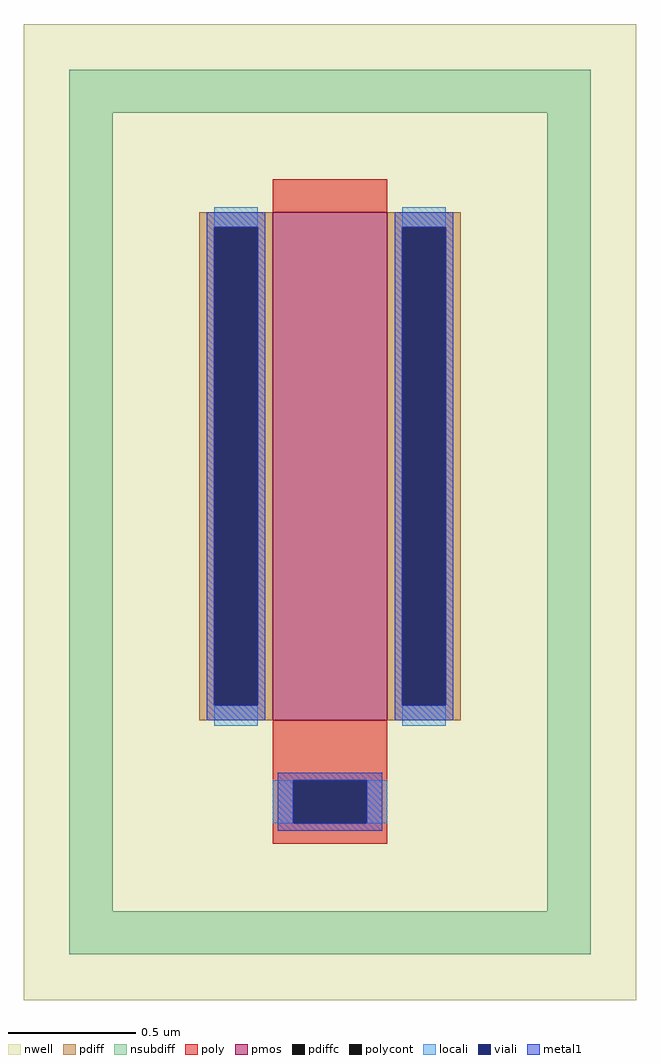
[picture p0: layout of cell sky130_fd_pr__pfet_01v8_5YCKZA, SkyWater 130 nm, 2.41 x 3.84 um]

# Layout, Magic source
magic
tech sky130A
magscale 1 2
<< nwell >>
rect -241 -384 241 384
<< pmos >>
rect -45 -164 45 236
<< pdiff >>
rect -103 224 -45 236
rect -103 -152 -91 224
rect -57 -152 -45 224
rect -103 -164 -45 -152
rect 45 224 103 236
rect 45 -152 57 224
rect 91 -152 103 224
rect 45 -164 103 -152
<< pdiffc >>
rect -91 -152 -57 224
rect 57 -152 91 224
<< nsubdiff >>
rect -205 314 205 348
rect -205 -314 -171 314
rect 171 -314 205 314
rect -205 -348 205 -314
<< poly >>
rect -45 236 45 262
rect -45 -211 45 -164
rect -45 -245 -29 -211
rect 29 -245 45 -211
rect -45 -261 45 -245
<< polycont >>
rect -29 -245 29 -211
<< locali >>
rect -91 224 -57 240
rect -91 -168 -57 -152
rect 57 224 91 240
rect 57 -168 91 -152
rect -45 -245 -29 -211
rect 29 -245 45 -211
<< viali >>
rect -91 -152 -57 224
rect 57 -152 91 224
rect -29 -245 29 -211
<< metal1 >>
rect -97 224 -51 236
rect -97 -152 -91 224
rect -57 -152 -51 224
rect -97 -164 -51 -152
rect 51 224 97 236
rect 51 -152 57 224
rect 91 -152 97 224
rect 51 -164 97 -152
rect -41 -211 41 -205
rect -41 -245 -29 -211
rect 29 -245 41 -211
rect -41 -251 41 -245
<< properties >>
string FIXED_BBOX -188 -331 188 331
string gencell sky130_fd_pr__pfet_01v8
string library sky130
string parameters w 2 l 0.45 m 1 nf 1 diffcov 100 polycov 100 guard 1 glc 0 grc 0 gtc 0 gbc 0 tbcov 100 rlcov 100 topc 0 botc 1 poverlap 0 doverlap 1 lmin 0.15 wmin 0.42 compatible {sky130_fd_pr__pfet_01v8  sky130_fd_pr__pfet_01v8_lvt sky130_fd_pr__pfet_01v8_hvt  sky130_fd_pr__pfet_g5v0d10v5} full_metal 0 viasrc 100 viadrn 100 viagate 100 viagb 0 viagr 0 viagl 0 viagt 0
<< end >>
